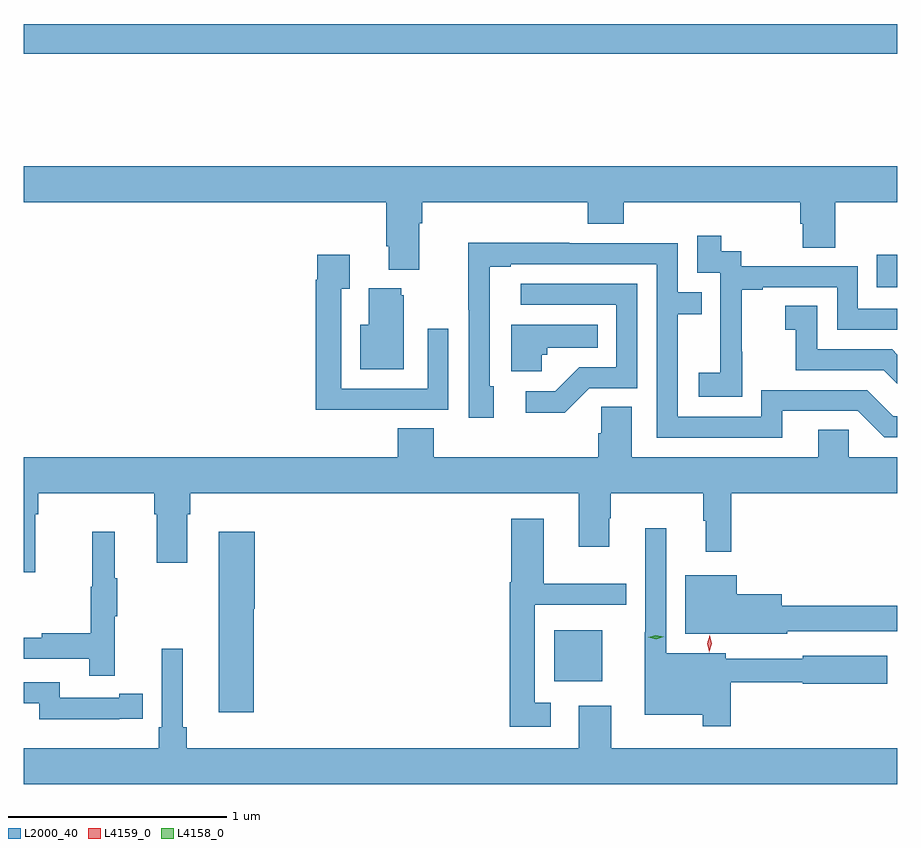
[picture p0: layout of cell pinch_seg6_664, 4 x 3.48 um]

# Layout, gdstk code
import gdstk
lib = gdstk.Library(unit=1e-6, precision=1e-09)
def R(c, l, rs):  # rectangles x0, y0, x1, y1
    for r in rs: c.add(gdstk.rectangle(r[:2], r[2:], *l))
def P(c, l, *ps):  # polygons
    for p in ps: c.add(gdstk.Polygon(p, *l))
L2000_40 = (2000, 40)
L4158_0 = (4158, 0)
L4159_0 = (4159, 0)

pinch_seg6_664 = lib.new_cell('pinch_seg6_664')
R(pinch_seg6_664, L2000_40, [(491.66,951.803,491.878,952.036), (493.135,953.607,493.23,953.755), (489.23,954.676,493.23,954.812)])
P(pinch_seg6_664, L2000_40, [(491.041,953.9),(491.054,953.9),(491.054,953.996),(491.813,953.996),(491.813,953.897),(491.978,953.897),(491.978,953.996),(492.785,953.996),(492.785,953.898),(492.797,953.898),(492.797,953.788),(492.945,953.788),(492.945,953.996),(493.23,953.996),(493.23,954.16),(489.23,954.16),(489.23,953.996),(490.889,953.996),(490.889,953.794),(490.901,953.794),(490.901,953.687),(491.041,953.687)],
  [(492.519,953.311),(492.518,953.311),(492.518,953.595),(492.613,953.595),(492.613,953.607),(492.954,953.607),(492.954,953.412),(493.23,953.412),(493.23,953.508),(493.05,953.508),(493.05,953.703),(492.516,953.703),(492.516,953.772),(492.424,953.772),(492.424,953.842),(492.315,953.842),(492.315,953.673),(492.42,953.673),(492.42,953.444),(492.419,953.444),(492.419,953.215),(492.321,953.215),(492.321,953.105),(492.519,953.105)],
  [(492.703,953.04),(493.05,953.04),(493.17,952.92),(493.23,952.92),(493.23,953.016),(493.212,953.016),(493.092,953.136),(492.606,953.136),(492.606,953.013),(492.225,953.013),(492.225,953.482),(492.335,953.482),(492.335,953.583),(492.225,953.583),(492.225,953.808),(491.729,953.808),(491.729,953.81),(491.266,953.81),(491.266,953.503),(491.268,953.503),(491.268,953.01),(491.383,953.01),(491.383,953.154),(491.364,953.154),(491.364,953.7),(491.461,953.7),(491.461,953.712),(492.129,953.712),(492.129,952.917),(492.703,952.917)],
  [(490.859,953.046),(491.175,953.046),(491.175,953.416),(491.079,953.416),(491.079,953.142),(490.683,953.142),(490.683,953.599),(490.723,953.599),(490.723,953.755),(490.575,953.755),(490.575,953.642),(490.567,953.642),(490.567,953.045),(490.859,953.045)],
  [(491.82,953.145),(492.039,953.145),(492.039,953.622),(491.505,953.622),(491.505,953.526),(491.943,953.526),(491.943,953.241),(491.774,953.241),(491.663,953.13),(491.529,953.13),(491.529,953.033),(491.707,953.033)],
  [(490.969,953.571),(490.958,953.571),(490.958,953.602),(490.811,953.602),(490.811,953.434),(490.772,953.434),(490.772,953.231),(490.969,953.231)],
  [(493.23,953.298),(493.206,953.322),(492.864,953.322),(492.864,953.521),(492.717,953.521),(492.717,953.411),(492.766,953.411),(492.766,953.226),(493.169,953.226),(493.23,953.165)],
  [(491.601,953.298),(491.628,953.298),(491.628,953.33),(491.858,953.33),(491.858,953.434),(491.462,953.434),(491.462,953.222),(491.601,953.222)],
  [(489.283,952.568),(489.296,952.568),(489.296,952.664),(489.827,952.664),(489.827,952.568),(489.839,952.568),(489.839,952.344),(489.979,952.344),(489.979,952.568),(489.992,952.568),(489.992,952.664),(491.771,952.664),(491.771,952.419),(491.911,952.419),(491.911,952.55),(491.919,952.55),(491.919,952.664),(492.342,952.664),(492.342,952.538),(492.353,952.538),(492.353,952.395),(492.47,952.395),(492.47,952.664),(493.23,952.664),(493.23,952.828),(493.008,952.828),(493.008,952.955),(492.869,952.955),(492.869,952.828),(492.013,952.828),(492.013,953.06),(491.874,953.06),(491.874,952.937),(491.861,952.937),(491.861,952.828),(491.108,952.828),(491.108,952.961),(490.943,952.961),(490.943,952.828),(489.23,952.828),(489.23,952.302),(489.283,952.302)],
  [(491.644,951.703),(491.571,951.703),(491.571,952.152),(491.99,952.152),(491.99,952.249),(491.611,952.249),(491.611,952.546),(491.462,952.546),(491.462,952.255),(491.455,952.255),(491.455,951.594),(491.644,951.594)],
  [(492.467,951.798),(492.798,951.798),(492.798,951.79),(493.183,951.79),(493.183,951.919),(492.798,951.919),(492.798,951.906),(492.444,951.906),(492.444,951.931),(492.171,951.931),(492.171,952.504),(492.075,952.504),(492.075,952.027),(492.074,952.027),(492.074,951.65),(492.339,951.65),(492.339,951.597),(492.467,951.597)],
  [(489.647,952.099),(489.658,952.099),(489.658,952.273),(489.647,952.273),(489.647,952.486),(489.544,952.486),(489.544,952.236),(489.537,952.236),(489.537,952.022),(489.313,952.022),(489.313,952.002),(489.23,952.002),(489.23,951.906),(489.529,951.906),(489.529,951.828),(489.647,951.828)],
  [(490.283,952.134),(490.288,952.134),(490.288,952.486),(490.124,952.486),(490.124,951.66),(490.283,951.66)],
  [(492.726,952.032),(493.23,952.032),(493.23,952.148),(492.7,952.148),(492.7,952.201),(492.496,952.201),(492.496,952.288),(492.26,952.288),(492.26,952.019),(492.726,952.019)],
  [(493.23,951.496),(491.92,951.496),(491.92,951.691),(491.771,951.691),(491.771,951.496),(489.977,951.496),(489.977,951.592),(489.958,951.592),(489.958,951.952),(489.861,951.952),(489.861,951.592),(489.848,951.592),(489.848,951.496),(489.23,951.496),(489.23,951.332),(493.23,951.332)],
  [(489.668,951.63),(489.776,951.63),(489.776,951.746),(489.668,951.746),(489.668,951.726),(489.396,951.726),(489.396,951.798),(489.23,951.798),(489.23,951.702),(489.3,951.702),(489.3,951.629),(489.668,951.629)])
P(pinch_seg6_664, L4158_0, [(492.126,951.994),(492.09,952.003),(492.09,952.003),(492.09,952.003),(492.125,952.014),(492.16,952.006),(492.161,952.006),(492.16,952.006)])
P(pinch_seg6_664, L4159_0, [(492.369,951.936),(492.368,951.937),(492.36,951.975),(492.371,952.013),(492.372,952.013),(492.372,952.013),(492.38,951.975),(492.369,951.937)])

lib.write_gds('pinch_seg6_664.gds')
